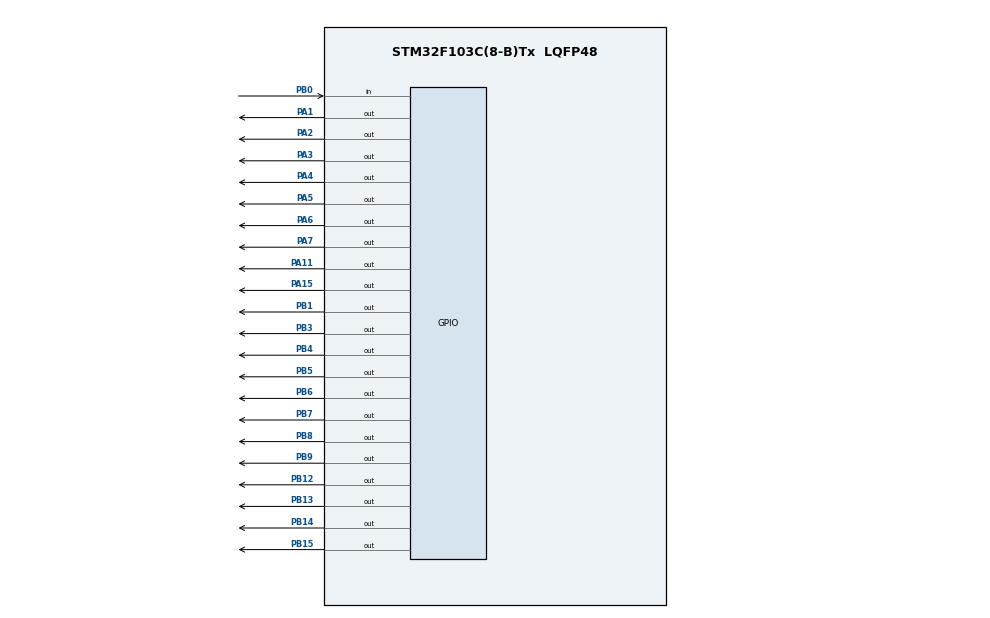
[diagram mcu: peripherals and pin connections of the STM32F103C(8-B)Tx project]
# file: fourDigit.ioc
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Mcu.Family=STM32F1
Mcu.Name=STM32F103C(8-B)Tx
Mcu.Package=LQFP48
NVIC.PriorityGroup=NVIC_PRIORITYGROUP_4
PA1.Signal=GPIO_Output
PA11.Signal=GPIO_Output
PA15.Signal=GPIO_Output
PA2.Signal=GPIO_Output
PA3.Signal=GPIO_Output
PA4.Signal=GPIO_Output
PA5.Signal=GPIO_Output
PA6.Signal=GPIO_Output
PA7.Signal=GPIO_Output
PB0.Signal=GPIO_Input
PB1.Signal=GPIO_Output
PB12.Signal=GPIO_Output
PB13.Signal=GPIO_Output
PB14.Signal=GPIO_Output
PB15.Signal=GPIO_Output
PB3.Signal=GPIO_Output
PB4.Signal=GPIO_Output
PB5.Signal=GPIO_Output
PB6.Signal=GPIO_Output
PB7.Signal=GPIO_Output
PB8.Signal=GPIO_Output
PB9.Signal=GPIO_Output
ProjectManager.HeapSize=0x200
ProjectManager.StackSize=0x400
ProjectManager.TargetToolchain=STM32CubeIDE
RCC.APB1Freq_Value=8000000
RCC.APB2Freq_Value=8000000
board=custom

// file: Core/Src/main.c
/* USER CODE BEGIN Header */
/**
 ******************************************************************************
 * @file           : main.c
 * @brief          : Main program body
 ******************************************************************************
 * @attention
 *
 * Copyright (c) 2024 STMicroelectronics.
 * All rights reserved.
 *
 * This software is licensed under terms that can be found in the LICENSE file
 * in the root directory of this software component.
 * If no LICENSE file comes with this software, it is provided AS-IS.
 *
 ******************************************************************************
 */
/* USER CODE END Header */
#include "main.h"

void SystemClock_Config(void);
static void MX_GPIO_Init(void);

int main(void) {

	/* MCU Configuration--------------------------------------------------------*/

	/* Reset of all peripherals, Initializes the Flash interface and the Systick. */
	HAL_Init();

	/* Configure the system clock */
	SystemClock_Config();

	/* Initialize all configured peripherals */
	MX_GPIO_Init();

	/* Infinite loop */
	/* USER CODE BEGIN WHILE */

	int segment[] = { 0b01111110, 0b00001100, 0b10110110, 0b10011110,
			0b11001100, 0b11011010, 0b11111010, 0b00001110, 0b11111110,
			0b11011110 };
	int digit[3];
	int num = 0;
	int i = 0;
	int j = 0;
	uint16_t Select = GPIO_PIN_12;
	while (1) {

		for (; i < 4;) {
			digit[i] = num % 10;
			num = num / 10;
			i++;
		}
		MX_GPIO_Init();
		HAL_GPIO_WritePin(GPIOB, Select, 1);
		HAL_GPIO_WritePin(GPIOA, segment[digit[j]], 1);
		HAL_Delay(1);
		j++;
		if (j > 3){
			j = 0;
		}
		if (Select == 0x8000) {
			Select = 0x1000;
			continue;
		}
		Select = Select << 1;

	}
	/* USER CODE END WHILE */

}

void SystemClock_Config(void) {
	RCC_OscInitTypeDef RCC_OscInitStruct = { 0 };
	RCC_ClkInitTypeDef RCC_ClkInitStruct = { 0 };

	/** Initializes the RCC Oscillators according to the specified parameters
	 * in the RCC_OscInitTypeDef structure.
	 */
	RCC_OscInitStruct.OscillatorType = RCC_OSCILLATORTYPE_HSI;
	RCC_OscInitStruct.HSIState = RCC_HSI_ON;
	RCC_OscInitStruct.HSICalibrationValue = RCC_HSICALIBRATION_DEFAULT;
	RCC_OscInitStruct.PLL.PLLState = RCC_PLL_NONE;
	if (HAL_RCC_OscConfig(&RCC_OscInitStruct) != HAL_OK) {
		Error_Handler();
	}

	/** Initializes the CPU, AHB and APB buses clocks
	 */
	RCC_ClkInitStruct.ClockType = RCC_CLOCKTYPE_HCLK | RCC_CLOCKTYPE_SYSCLK
			| RCC_CLOCKTYPE_PCLK1 | RCC_CLOCKTYPE_PCLK2;
	RCC_ClkInitStruct.SYSCLKSource = RCC_SYSCLKSOURCE_HSI;
	RCC_ClkInitStruct.AHBCLKDivider = RCC_SYSCLK_DIV1;
	RCC_ClkInitStruct.APB1CLKDivider = RCC_HCLK_DIV1;
	RCC_ClkInitStruct.APB2CLKDivider = RCC_HCLK_DIV1;

	if (HAL_RCC_ClockConfig(&RCC_ClkInitStruct, FLASH_LATENCY_0) != HAL_OK) {
		Error_Handler();
	}
}

static void MX_GPIO_Init(void) {
	GPIO_InitTypeDef GPIO_InitStruct = { 0 };

	/* GPIO Ports Clock Enable */
	__HAL_RCC_GPIOA_CLK_ENABLE();
	__HAL_RCC_GPIOB_CLK_ENABLE();

	/*Configure GPIO pin Output Level */
	HAL_GPIO_WritePin(GPIOA,
			GPIO_PIN_1 | GPIO_PIN_2 | GPIO_PIN_3 | GPIO_PIN_4 | GPIO_PIN_5
					| GPIO_PIN_6 | GPIO_PIN_7 | GPIO_PIN_11 | GPIO_PIN_15,
			GPIO_PIN_RESET);

	/*Configure GPIO pin Output Level */
	HAL_GPIO_WritePin(GPIOB,
			GPIO_PIN_1 | GPIO_PIN_12 | GPIO_PIN_13 | GPIO_PIN_14 | GPIO_PIN_15
					| GPIO_PIN_3 | GPIO_PIN_4 | GPIO_PIN_5 | GPIO_PIN_6
					| GPIO_PIN_7 | GPIO_PIN_8 | GPIO_PIN_9, GPIO_PIN_RESET);

	/*Configure GPIO pins : PA1 PA2 PA3 PA4
	 PA5 PA6 PA7 PA11
	 PA15 */
	GPIO_InitStruct.Pin = GPIO_PIN_1 | GPIO_PIN_2 | GPIO_PIN_3 | GPIO_PIN_4
			| GPIO_PIN_5 | GPIO_PIN_6 | GPIO_PIN_7 | GPIO_PIN_11 | GPIO_PIN_15;
	GPIO_InitStruct.Mode = GPIO_MODE_OUTPUT_PP;
	GPIO_InitStruct.Pull = GPIO_NOPULL;
	GPIO_InitStruct.Speed = GPIO_SPEED_FREQ_LOW;
	HAL_GPIO_Init(GPIOA, &GPIO_InitStruct);

	/*Configure GPIO pin : PB0 */
	GPIO_InitStruct.Pin = GPIO_PIN_0;
	GPIO_InitStruct.Mode = GPIO_MODE_INPUT;
	GPIO_InitStruct.Pull = GPIO_NOPULL;
	HAL_GPIO_Init(GPIOB, &GPIO_InitStruct);

	/*Configure GPIO pins : PB1 PB12 PB13 PB14
	 PB15 PB3 PB4 PB5
	 PB6 PB7 PB8 PB9 */
	GPIO_InitStruct.Pin = GPIO_PIN_1 | GPIO_PIN_12 | GPIO_PIN_13 | GPIO_PIN_14
			| GPIO_PIN_15 | GPIO_PIN_3 | GPIO_PIN_4 | GPIO_PIN_5 | GPIO_PIN_6
			| GPIO_PIN_7 | GPIO_PIN_8 | GPIO_PIN_9;
	GPIO_InitStruct.Mode = GPIO_MODE_OUTPUT_PP;
	GPIO_InitStruct.Pull = GPIO_NOPULL;
	GPIO_InitStruct.Speed = GPIO_SPEED_FREQ_LOW;
	HAL_GPIO_Init(GPIOB, &GPIO_InitStruct);

}

void Error_Handler(void) {
	__disable_irq();
	while (1) {
	}
}
